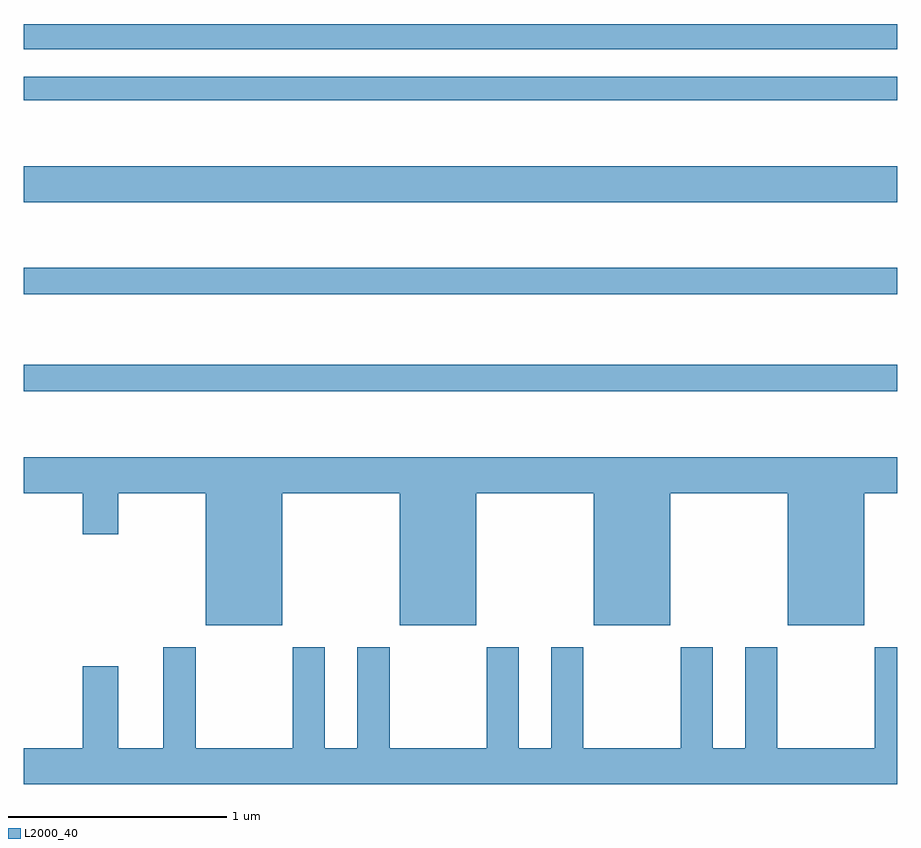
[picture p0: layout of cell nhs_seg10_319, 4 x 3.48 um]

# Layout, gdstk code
import gdstk
lib = gdstk.Library(unit=1e-6, precision=1e-09)
def R(c, l, rs):  # rectangles x0, y0, x1, y1
    for r in rs: c.add(gdstk.rectangle(r[:2], r[2:], *l))
def P(c, l, *ps):  # polygons
    for p in ps: c.add(gdstk.Polygon(p, *l))
L2000_40 = (2000, 40)

nhs_seg10_319 = lib.new_cell('nhs_seg10_319')
R(nhs_seg10_319, L2000_40, [(125,1328.754,129,1328.875), (125,1329.198,129,1329.319), (125,1329.62,129,1329.784), (125,1330.086,129,1330.194), (125,1330.32,129,1330.436)])
P(nhs_seg10_319, L2000_40, [(126.184,1328.288),(126.722,1328.288),(126.722,1327.682),(127.072,1327.682),(127.072,1328.288),(127.61,1328.288),(127.61,1327.682),(127.96,1327.682),(127.96,1328.288),(128.498,1328.288),(128.498,1327.682),(128.848,1327.682),(128.848,1328.288),(129,1328.288),(129,1328.452),(125,1328.452),(125,1328.288),(125.27,1328.288),(125.27,1328.1),(125.434,1328.1),(125.434,1328.288),(125.834,1328.288),(125.834,1327.682),(126.184,1327.682)],
  [(129,1327.582),(128.896,1327.582),(128.896,1327.12),(128.451,1327.12),(128.451,1327.582),(128.303,1327.582),(128.303,1327.12),(128.155,1327.12),(128.155,1327.582),(128.008,1327.582),(128.008,1327.12),(127.563,1327.12),(127.563,1327.582),(127.415,1327.582),(127.415,1327.12),(127.267,1327.12),(127.267,1327.582),(127.12,1327.582),(127.12,1327.12),(126.675,1327.12),(126.675,1327.582),(126.527,1327.582),(126.527,1327.12),(126.379,1327.12),(126.379,1327.582),(126.232,1327.582),(126.232,1327.12),(125.787,1327.12),(125.787,1327.582),(125.639,1327.582),(125.639,1327.12),(125.434,1327.12),(125.434,1327.495),(125.27,1327.495),(125.27,1327.12),(125,1327.12),(125,1326.956),(129,1326.956)])

lib.write_gds('nhs_seg10_319.gds')
